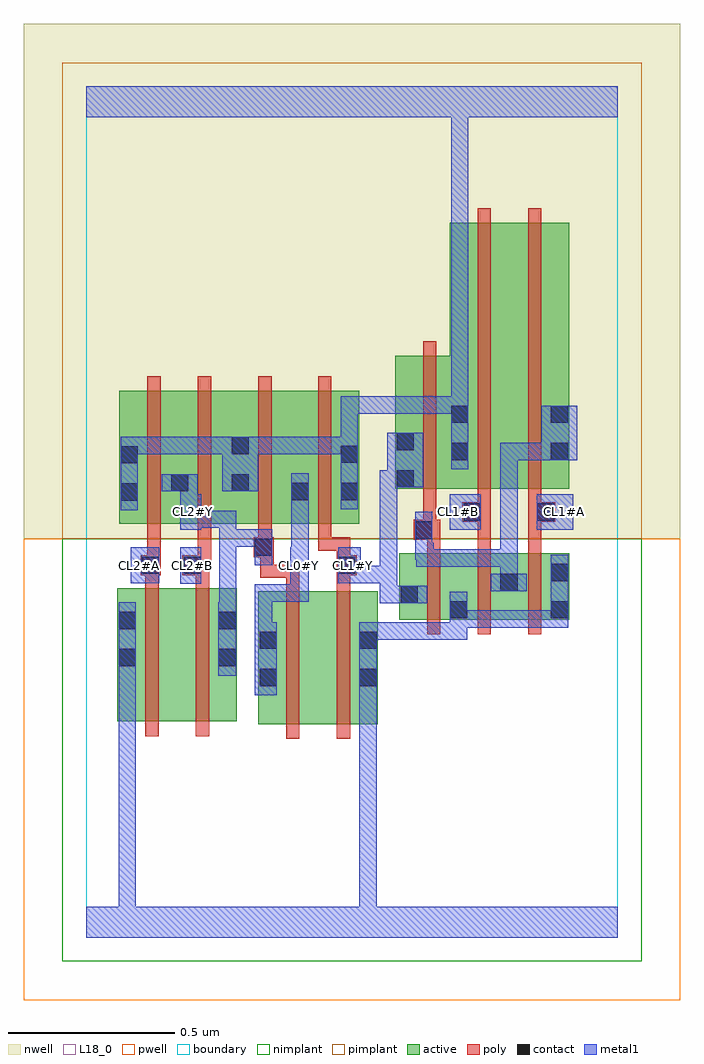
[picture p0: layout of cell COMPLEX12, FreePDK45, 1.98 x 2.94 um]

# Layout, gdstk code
import gdstk
lib = gdstk.Library(unit=1e-6, precision=1e-09)
def R(c, l, rs):  # rectangles x0, y0, x1, y1
    for r in rs: c.add(gdstk.rectangle(r[:2], r[2:], *l))
def A(c, l, x, y, w, h, nx, ny, dx, dy):  # array of equal rectangles
    R(c, l, [(x+i*dx, y+j*dy, x+i*dx+w, y+j*dy+h) for i in range(nx) for j in range(ny)])
active = (1, 0)
pwell = (2, 0)
nwell = (3, 0)
nimplant = (4, 0)
pimplant = (5, 0)
poly = (9, 0)
contact = (10, 0)
metal1 = (11, 0)
L18_0 = (18, 0)
boundary = (235, 0)

complex12 = lib.new_cell('COMPLEX12')
R(complex12, active, [(0.518,0.642,0.578,1.042), (0.518,0.642,0.698,1.042), (0.698,0.642,0.878,1.042), (0.818,0.642,0.878,1.042), (0.094,0.65,0.154,1.05), (0.094,0.65,0.274,1.05), (0.274,0.65,0.454,1.05), (0.394,0.65,0.454,1.05), (0.942,0.956,1.002,1.156), (0.942,0.956,1.15,1.156), (1.09,0.956,1.15,1.156), (1.09,0.956,1.302,1.156), (1.242,0.956,1.454,1.156), (1.242,0.956,1.302,1.098), (1.394,0.956,1.454,1.156), (0.1,1.244,0.16,1.644), (0.1,1.244,0.312,1.644), (0.252,1.244,0.312,1.644), (0.252,1.244,0.494,1.644), (0.434,1.244,0.494,1.644), (0.434,1.244,0.674,1.644), (0.614,1.244,0.674,1.644), (0.614,1.244,0.822,1.644), (0.762,1.244,0.822,1.644), (0.93,1.35,0.99,1.75), (0.93,1.35,1.154,1.75), (1.094,1.35,1.274,2.15), (1.274,1.35,1.454,2.15), (1.394,1.35,1.454,2.15), (1.094,1.432,1.154,1.766)])
R(complex12, pwell, [(-0.188,-0.188,1.788,1.2)])
R(complex12, nwell, [(-0.188,1.2,1.788,2.748)])
R(complex12, nimplant, [(-0.072,-0.072,1.672,1.2)])
R(complex12, pimplant, [(-0.072,1.2,1.672,2.632)])
A(complex12, poly, 1.026, 0.912, 0.04, 0.288, 3, 1, 0.152, 0)
R(complex12, poly, [(0.602,0.598,0.642,1.086), (0.754,0.598,0.794,1.086), (0.178,0.606,0.218,1.094), (0.33,0.606,0.37,1.094), (0.602,1.046,0.642,1.122), (0.754,1.046,0.794,1.13), (0.178,1.054,0.218,1.13), (0.33,1.054,0.37,1.13), (0.524,1.082,0.564,1.184), (0.524,1.082,0.642,1.122), (0.164,1.09,0.224,1.15), (0.178,1.09,0.218,1.13), (0.178,1.09,0.218,1.13), (0.29,1.09,0.37,1.15), (0.754,1.09,0.814,1.15), (0.184,1.11,0.224,1.24), (0.33,1.11,0.37,1.15), (0.33,1.11,0.376,1.15), (0.336,1.11,0.376,1.24), (0.754,1.11,0.794,1.204), (0.504,1.144,0.564,1.204), (1.026,1.16,1.066,1.236), (1.178,1.16,1.218,1.29), (1.33,1.16,1.37,1.29), (0.518,1.164,0.558,1.24), (0.698,1.164,0.738,1.24), (0.698,1.164,0.794,1.204), (0.986,1.196,1.066,1.256), (0.184,1.2,0.224,1.688), (0.336,1.2,0.376,1.688), (0.518,1.2,0.558,1.688), (0.698,1.2,0.738,1.688), (1.014,1.216,1.054,1.256), (1.014,1.216,1.054,1.256), (1.014,1.216,1.054,1.346), (1.132,1.25,1.218,1.31), (1.178,1.25,1.218,1.29), (1.178,1.25,1.218,1.29), (1.33,1.25,1.37,1.29), (1.33,1.25,1.37,1.29), (1.33,1.25,1.412,1.31), (1.178,1.27,1.218,1.346), (1.33,1.27,1.37,1.346), (1.014,1.306,1.054,1.794), (1.178,1.306,1.218,2.194), (1.33,1.306,1.37,2.194)])
R(complex12, contact, [(0.522,0.756,0.574,0.808), (0.822,0.756,0.874,0.808), (0.098,0.816,0.15,0.868), (0.398,0.816,0.45,0.868), (0.522,0.868,0.574,0.92), (0.822,0.868,0.874,0.92), (0.098,0.928,0.15,0.98), (0.398,0.928,0.45,0.98), (1.094,0.96,1.146,1.012), (1.398,0.96,1.45,1.012), (0.946,1.006,0.998,1.058), (1.246,1.042,1.298,1.094), (1.398,1.072,1.45,1.124), (0.168,1.094,0.22,1.146), (0.294,1.094,0.346,1.146), (0.758,1.094,0.81,1.146), (0.508,1.148,0.56,1.2), (0.99,1.2,1.042,1.252), (1.136,1.254,1.188,1.306), (1.356,1.254,1.408,1.306), (0.104,1.314,0.156,1.366), (0.618,1.316,0.67,1.368), (0.766,1.316,0.818,1.368), (0.256,1.342,0.308,1.394), (0.438,1.342,0.49,1.394), (0.934,1.354,0.986,1.406), (0.104,1.426,0.156,1.478), (0.766,1.428,0.818,1.48), (1.098,1.436,1.15,1.488), (1.398,1.436,1.45,1.488), (0.438,1.454,0.49,1.506), (0.934,1.466,0.986,1.518), (1.098,1.548,1.15,1.6), (1.398,1.548,1.45,1.6)])
R(complex12, metal1, [(0,0,1.6,0.092), (0.098,0.04,0.15,0.84), (0.822,0.04,0.874,0.092), (0.822,0.04,0.874,0.092), (0.822,0.04,0.874,0.092), (0.822,0.04,0.874,0.092), (0.822,0.04,0.874,0.092), (0.822,0.04,0.874,0.092), (0.822,0.04,0.874,0.092), (0.822,0.04,0.874,0.092), (0.822,0.04,0.874,0.092), (0.822,0.04,0.874,0.092), (0.822,0.04,0.874,0.092), (0.822,0.04,0.874,0.092), (0.822,0.04,0.874,0.78), (0.508,0.728,0.574,0.948), (0.822,0.728,0.874,0.948), (0.098,0.788,0.15,0.84), (0.098,0.788,0.15,0.84), (0.098,0.788,0.15,0.84), (0.098,0.788,0.15,0.84), (0.098,0.788,0.15,0.84), (0.098,0.788,0.15,0.84), (0.098,0.788,0.15,0.84), (0.098,0.788,0.15,0.84), (0.098,0.788,0.15,0.84), (0.098,0.788,0.15,0.84), (0.098,0.788,0.15,0.84), (0.098,0.788,0.15,0.84), (0.098,0.788,0.15,1.008), (0.398,0.788,0.452,1.008), (0.508,0.896,0.56,1.062), (0.822,0.896,0.936,0.948), (0.884,0.896,0.936,0.948), (0.884,0.896,0.936,0.948), (0.884,0.896,0.936,0.948), (0.884,0.896,0.936,0.948), (0.884,0.896,0.936,0.948), (0.884,0.896,0.984,0.948), (0.932,0.896,0.984,0.948), (0.932,0.896,1.146,0.948), (1.094,0.896,1.146,1.04), (1.094,0.932,1.152,0.984), (1.1,0.932,1.152,0.984), (1.1,0.932,1.298,0.984), (1.246,0.932,1.298,0.984), (1.246,0.932,1.298,0.984), (1.246,0.932,1.298,0.984), (1.246,0.932,1.45,0.984), (1.398,0.932,1.45,1.152), (0.4,0.956,0.452,1.008), (0.4,0.956,0.452,1.008), (0.4,0.956,0.452,1.228), (0.884,1.006,0.936,1.118), (0.884,1.006,1.026,1.058), (0.508,1.01,0.56,1.062), (0.508,1.01,0.666,1.062), (0.614,1.01,0.666,1.062), (0.614,1.01,0.666,1.062), (0.614,1.01,0.67,1.174), (1.218,1.042,1.326,1.094), (1.246,1.042,1.298,1.168), (0.284,1.064,0.346,1.174), (0.134,1.066,0.22,1.174), (0.758,1.066,0.826,1.174), (0.774,1.066,0.826,1.118), (0.774,1.066,0.826,1.118), (0.774,1.066,0.936,1.118), (0.884,1.066,0.936,1.118), (0.884,1.066,0.936,1.406), (0.994,1.116,1.188,1.168), (0.994,1.116,1.046,1.188), (1.136,1.116,1.188,1.168), (1.136,1.116,1.298,1.168), (1.246,1.116,1.298,1.168), (1.246,1.116,1.298,1.488), (0.508,1.12,0.56,1.228), (0.618,1.122,0.67,1.34), (0.99,1.136,1.046,1.188), (0.99,1.136,1.042,1.28), (0.4,1.176,0.452,1.284), (0.4,1.176,0.556,1.228), (0.504,1.176,0.556,1.228), (0.504,1.176,0.56,1.228), (0.284,1.226,0.346,1.334), (1.094,1.226,1.188,1.334), (1.356,1.226,1.466,1.334), (0.294,1.232,0.346,1.284), (0.294,1.232,0.346,1.284), (0.294,1.232,0.452,1.284), (0.284,1.282,0.336,1.394), (0.104,1.286,0.156,1.506), (0.618,1.288,0.67,1.34), (0.618,1.288,0.67,1.34), (0.618,1.288,0.67,1.396), (0.766,1.288,0.818,1.508), (0.228,1.342,0.336,1.394), (0.41,1.342,0.518,1.506), (0.884,1.354,0.958,1.406), (0.906,1.354,0.958,1.406), (0.906,1.354,1.014,1.518), (1.098,1.408,1.15,1.628), (1.246,1.436,1.298,1.488), (1.246,1.436,1.298,1.488), (1.246,1.436,1.298,1.488), (1.246,1.436,1.422,1.488), (1.37,1.436,1.422,1.488), (1.37,1.436,1.422,1.488), (1.37,1.436,1.478,1.6), (0.104,1.454,0.156,1.506), (0.104,1.454,0.156,1.506), (0.104,1.454,0.33,1.506), (0.278,1.454,0.33,1.506), (0.278,1.454,0.33,1.506), (0.278,1.454,0.33,1.506), (0.278,1.454,0.452,1.506), (0.4,1.454,0.452,1.506), (0.4,1.454,0.462,1.506), (0.466,1.454,0.7,1.506), (0.648,1.454,0.7,1.506), (0.648,1.454,0.7,1.506), (0.648,1.454,0.7,1.506), (0.648,1.454,0.818,1.506), (0.766,1.454,0.818,1.506), (0.766,1.454,0.818,1.506), (0.766,1.456,0.818,1.628), (0.766,1.576,0.818,1.628), (0.766,1.576,0.936,1.628), (0.884,1.576,0.936,1.628), (0.884,1.576,0.936,1.628), (0.884,1.576,0.936,1.628), (0.884,1.576,0.936,1.628), (0.884,1.576,0.936,1.628), (0.884,1.576,0.936,1.628), (0.884,1.576,0.936,1.628), (0.884,1.576,1.036,1.628), (0.984,1.576,1.036,1.628), (0.984,1.576,1.15,1.628), (1.098,1.576,1.15,1.628), (1.098,1.576,1.15,1.628), (1.098,1.576,1.15,1.628), (1.098,1.576,1.15,1.628), (1.098,1.576,1.15,1.628), (1.098,1.576,1.15,1.628), (1.098,1.576,1.15,1.628), (1.098,1.576,1.15,1.628), (1.098,1.576,1.15,2.52), (0,2.468,1.6,2.56)])
R(complex12, L18_0, [(0,0,1.6,0.092), (0.098,0.04,0.15,0.84), (0.822,0.04,0.874,0.092), (0.822,0.04,0.874,0.092), (0.822,0.04,0.874,0.092), (0.822,0.04,0.874,0.092), (0.822,0.04,0.874,0.092), (0.822,0.04,0.874,0.092), (0.822,0.04,0.874,0.092), (0.822,0.04,0.874,0.092), (0.822,0.04,0.874,0.092), (0.822,0.04,0.874,0.092), (0.822,0.04,0.874,0.092), (0.822,0.04,0.874,0.092), (0.822,0.04,0.874,0.78), (0.508,0.728,0.574,0.948), (0.822,0.728,0.874,0.948), (0.098,0.788,0.15,0.84), (0.098,0.788,0.15,0.84), (0.098,0.788,0.15,0.84), (0.098,0.788,0.15,0.84), (0.098,0.788,0.15,0.84), (0.098,0.788,0.15,0.84), (0.098,0.788,0.15,0.84), (0.098,0.788,0.15,0.84), (0.098,0.788,0.15,0.84), (0.098,0.788,0.15,0.84), (0.098,0.788,0.15,0.84), (0.098,0.788,0.15,0.84), (0.098,0.788,0.15,1.008), (0.398,0.788,0.452,1.008), (0.508,0.896,0.56,1.062), (0.822,0.896,0.936,0.948), (0.884,0.896,0.936,0.948), (0.884,0.896,0.936,0.948), (0.884,0.896,0.936,0.948), (0.884,0.896,0.936,0.948), (0.884,0.896,0.936,0.948), (0.884,0.896,0.984,0.948), (0.932,0.896,0.984,0.948), (0.932,0.896,1.146,0.948), (1.094,0.896,1.146,1.04), (1.094,0.932,1.152,0.984), (1.1,0.932,1.152,0.984), (1.1,0.932,1.298,0.984), (1.246,0.932,1.298,0.984), (1.246,0.932,1.298,0.984), (1.246,0.932,1.298,0.984), (1.246,0.932,1.45,0.984), (1.398,0.932,1.45,1.152), (0.4,0.956,0.452,1.008), (0.4,0.956,0.452,1.008), (0.4,0.956,0.452,1.228), (0.884,1.006,0.936,1.118), (0.884,1.006,1.026,1.058), (0.508,1.01,0.56,1.062), (0.508,1.01,0.666,1.062), (0.614,1.01,0.666,1.062), (0.614,1.01,0.666,1.062), (0.614,1.01,0.67,1.174), (0.284,1.064,0.346,1.174), (0.134,1.066,0.22,1.174), (0.758,1.066,0.826,1.174), (0.774,1.066,0.826,1.118), (0.774,1.066,0.826,1.118), (0.774,1.066,0.936,1.118), (0.884,1.066,0.936,1.118), (0.884,1.066,0.936,1.406), (0.134,1.094,0.186,1.146), (0.294,1.094,0.346,1.146), (0.614,1.094,0.666,1.146), (0.774,1.094,0.826,1.146), (0.508,1.12,0.56,1.228), (0.618,1.122,0.67,1.34), (0.4,1.176,0.452,1.284), (0.4,1.176,0.556,1.228), (0.504,1.176,0.556,1.228), (0.504,1.176,0.56,1.228), (0.284,1.226,0.346,1.334), (1.094,1.226,1.188,1.334), (1.356,1.226,1.466,1.334), (0.294,1.232,0.346,1.284), (0.294,1.232,0.346,1.284), (0.294,1.232,0.452,1.284), (0.294,1.254,0.346,1.306), (1.094,1.254,1.146,1.306), (1.414,1.254,1.466,1.306), (0.284,1.282,0.336,1.394), (0.104,1.286,0.156,1.506), (0.618,1.288,0.67,1.34), (0.618,1.288,0.67,1.34), (0.618,1.288,0.67,1.396), (0.766,1.288,0.818,1.508), (0.228,1.342,0.336,1.394), (0.41,1.342,0.518,1.506), (0.884,1.354,0.958,1.406), (0.906,1.354,0.958,1.406), (0.906,1.354,1.014,1.518), (1.098,1.408,1.15,1.628), (0.104,1.454,0.156,1.506), (0.104,1.454,0.156,1.506), (0.104,1.454,0.33,1.506), (0.278,1.454,0.33,1.506), (0.278,1.454,0.33,1.506), (0.278,1.454,0.33,1.506), (0.278,1.454,0.452,1.506), (0.4,1.454,0.452,1.506), (0.4,1.454,0.462,1.506), (0.466,1.454,0.7,1.506), (0.648,1.454,0.7,1.506), (0.648,1.454,0.7,1.506), (0.648,1.454,0.7,1.506), (0.648,1.454,0.818,1.506), (0.766,1.454,0.818,1.506), (0.766,1.454,0.818,1.506), (0.766,1.456,0.818,1.628), (0.766,1.576,0.818,1.628), (0.766,1.576,0.936,1.628), (0.884,1.576,0.936,1.628), (0.884,1.576,0.936,1.628), (0.884,1.576,0.936,1.628), (0.884,1.576,0.936,1.628), (0.884,1.576,0.936,1.628), (0.884,1.576,0.936,1.628), (0.884,1.576,0.936,1.628), (0.884,1.576,1.036,1.628), (0.984,1.576,1.036,1.628), (0.984,1.576,1.15,1.628), (1.098,1.576,1.15,1.628), (1.098,1.576,1.15,1.628), (1.098,1.576,1.15,1.628), (1.098,1.576,1.15,1.628), (1.098,1.576,1.15,1.628), (1.098,1.576,1.15,1.628), (1.098,1.576,1.15,1.628), (1.098,1.576,1.15,1.628), (1.098,1.576,1.15,2.52), (0,2.468,1.6,2.56)])
R(complex12, boundary, [(0,0,1.6,2.56)])
complex12.add(gdstk.Label('CL0#Y', (0.64,1.12), layer=11, texttype=0))
complex12.add(gdstk.Label('CL1#A', (1.44,1.28), layer=11, texttype=0))
complex12.add(gdstk.Label('CL1#B', (1.12,1.28), layer=11, texttype=0))
complex12.add(gdstk.Label('CL1#Y', (0.8,1.12), layer=11, texttype=0))
complex12.add(gdstk.Label('CL2#A', (0.16,1.12), layer=11, texttype=0))
complex12.add(gdstk.Label('CL2#B', (0.32,1.12), layer=11, texttype=0))
complex12.add(gdstk.Label('CL2#Y', (0.32,1.28), layer=11, texttype=0))

lib.write_gds('COMPLEX12.gds')
